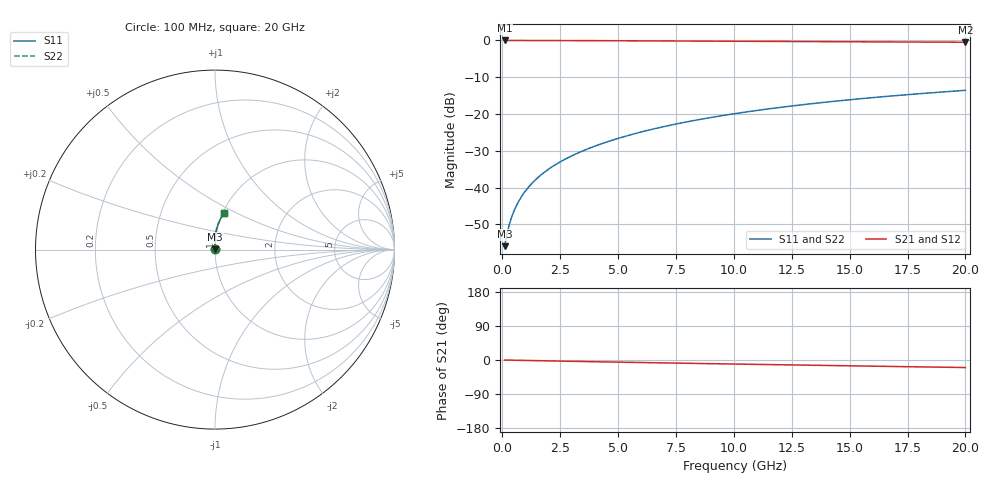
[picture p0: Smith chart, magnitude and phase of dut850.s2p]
! Touchstone file exported from HFSS 2024.1.0
!  File:  C:/UserFiles/LocalFiles/RDL_TSV_Batchsim/temp_RDL_bottom_850_1779864079.aedt
!  Generated:  02:44:29 PM May 27, 2026
!  Design:  RDL_bottom
!  Project:  temp_RDL_bottom_850_1779864079
!  Setup:  Setup1
!  Solution:  Sweep
! Variables:
!  dtsv = 10.80580581um
!  hbump = 3um
!  htsv = 90.55um
!  ldown = 244.33um
!  lrdl = 100um
!  p = 40
!  p1 = 55.11um
!  rhole = 1um
!  t = 450um
!  tdown = 3.31um
!  trdl = 3.915915916um
!  wdown = 25.53um
!  wrdl = 20um
# GHz S MA R 50.000000
! Terminal data exported
! Port[1] = RDL1_T1
! Port[2] = RDL1_T2
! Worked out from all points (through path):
!   200 points, 100 MHz to 20 GHz, reference 50 ohm
!   highest |S21| = -0.01 dB at 100 MHz (marker M1); lowest = -0.5 dB at 20 GHz (marker M2)
!   group delay of S21, straight-line fit = 2.73 ps
!   lowest |S11| = -55.9 dB at 100 MHz (marker M3), VSWR 1.00, Z = 50.1 + j0.0973 ohm
!   |S11| at or under -10 dB: start of sweep to end of sweep
!   |S22| runs from -55.9 to -13.6 dB; largest |S21 - S12| = 3.4e-15
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0.1  0.001604 37.2  0.9987 -0.1  0.9987 -0.1  0.001604 37.2
! Gamma 0 0 0 0
! Port Impedance 50 0 50 0
0.2  0.002328 55.0  0.9986 -0.2  0.9986 -0.2  0.002328 55.0
0.3  0.003135 63.6  0.9986 -0.4  0.9986 -0.4  0.003135 63.6
0.4  0.003957 68.7  0.9985 -0.5  0.9985 -0.5  0.003957 68.7
0.5  0.004785 72.2  0.9984 -0.6  0.9984 -0.6  0.004785 72.2
0.6  0.005619 74.7  0.9983 -0.7  0.9983 -0.7  0.005619 74.7
0.8  0.007306 78.3  0.9982 -0.9  0.9982 -0.9  0.007306 78.3
1.1  0.00988 81.6  0.9979 -1.3  0.9979 -1.3  0.00988 81.6
1.5  0.01338 84.2  0.9975 -1.8  0.9975 -1.8  0.01338 84.2
1.8  0.01604 85.5  0.9971 -2.1  0.9971 -2.1  0.01604 85.5
2.1  0.01874 86.5  0.9966 -2.4  0.9966 -2.4  0.01874 86.5
2.7  0.02424 87.9  0.9955 -3.1  0.9955 -3.1  0.02424 87.9
3.5  0.0318 89.0  0.9938 -4.0  0.9938 -4.0  0.0318 89.0
4.2  0.03863 89.5  0.992 -4.8  0.992 -4.8  0.03863 89.5
5  0.04668 89.7  0.9898 -5.7  0.9898 -5.7  0.04668 89.7
5.9  0.05601 89.7  0.9871 -6.6  0.9871 -6.6  0.056 89.7
6.8  0.06557 89.3  0.9844 -7.5  0.9844 -7.5  0.06557 89.3
8.4  0.08302 88.3  0.9794 -9.1  0.9794 -9.1  0.08301 88.3
10.1  0.1019 86.8  0.9741 -10.8  0.9741 -10.8  0.1019 86.8
13.4  0.1387 83.4  0.9641 -13.9  0.9641 -13.9  0.1387 83.4
16.7  0.1748 79.8  0.9542 -16.9  0.9542 -16.9  0.1748 79.8
20  0.2098 76.2  0.9442 -19.9  0.9442 -19.9  0.2098 76.2
